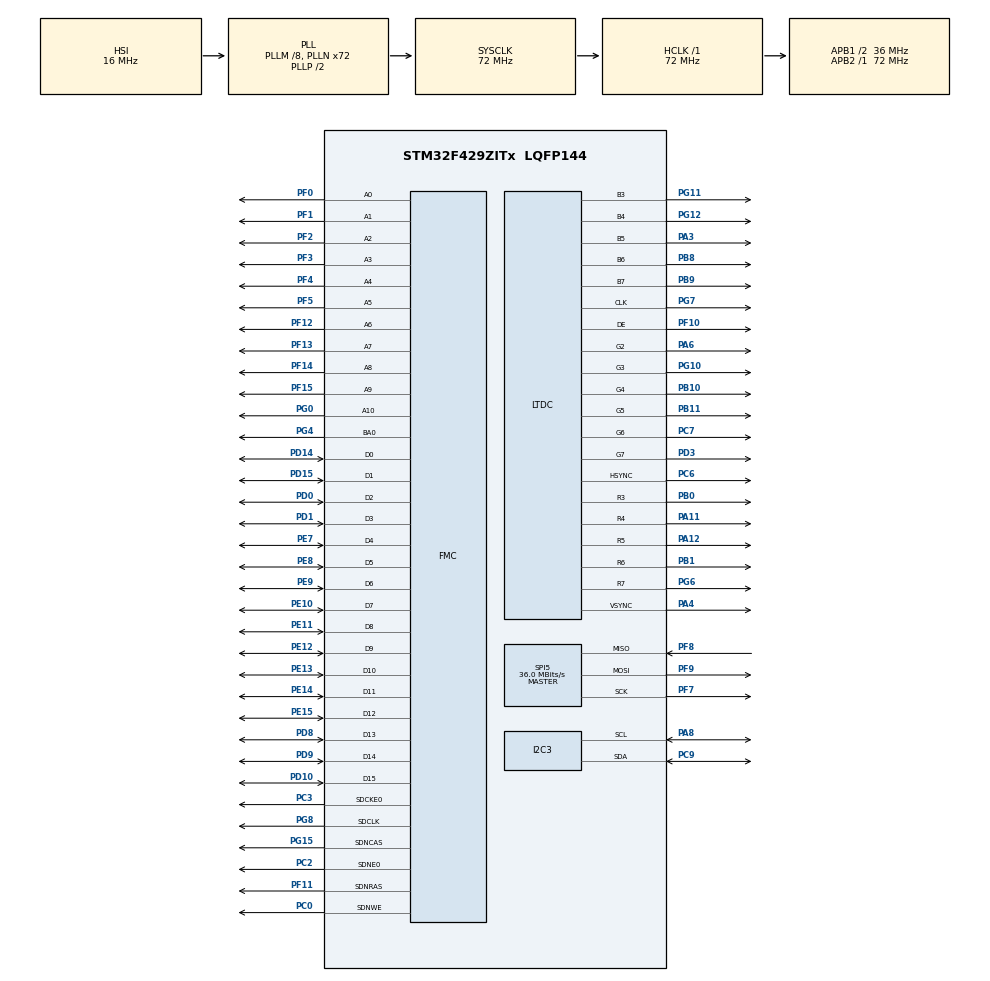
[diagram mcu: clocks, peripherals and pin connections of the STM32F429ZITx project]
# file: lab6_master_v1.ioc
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FMC.CASLatency1=FMC_SDRAM_CAS_LATENCY_3
FMC.ReadPipeDelay1=FMC_SDRAM_RPIPE_DELAY_1
FMC.ReadPipeDelay2=FMC_SDRAM_RPIPE_DELAY_1
FMC.SDClockPeriod1=FMC_SDRAM_CLOCK_PERIOD_2
FMC.SDClockPeriod2=FMC_SDRAM_CLOCK_PERIOD_2
Mcu.Family=STM32F4
Mcu.Name=STM32F429ZITx
Mcu.Package=LQFP144
NVIC.PriorityGroup=NVIC_PRIORITYGROUP_4
NVIC.SPI5_IRQn=true\:0\:0\:false\:false\:true\:true\:true\:true
PA11.Mode=RGB565
PA11.Signal=LTDC_R4
PA12.Mode=RGB565
PA12.Signal=LTDC_R5
PA3.Mode=RGB565
PA3.Signal=LTDC_B5
PA4.Mode=RGB565
PA4.Signal=LTDC_VSYNC
PA6.Mode=RGB565
PA6.Signal=LTDC_G2
PA8.Mode=I2C
PA8.Signal=I2C3_SCL
PB0.Mode=RGB565
PB0.Signal=LTDC_R3
PB1.Mode=RGB565
PB1.Signal=LTDC_R6
PB10.Mode=RGB565
PB10.Signal=LTDC_G4
PB11.Mode=RGB565
PB11.Signal=LTDC_G5
PB8.Mode=RGB565
PB8.Signal=LTDC_B6
PB9.Mode=RGB565
PB9.Signal=LTDC_B7
PC0.Signal=FMC_SDNWE
PC2.Mode=SdramChipSelect1_1
PC2.Signal=FMC_SDNE0
PC3.Mode=SdramChipSelect1_1
PC3.Signal=FMC_SDCKE0
PC6.Mode=RGB565
PC6.Signal=LTDC_HSYNC
PC7.Mode=RGB565
PC7.Signal=LTDC_G6
PC9.Mode=I2C
PC9.Signal=I2C3_SDA
PD0.Signal=FMC_D2_DA2
PD1.Signal=FMC_D3_DA3
PD10.Signal=FMC_D15_DA15
PD14.Signal=FMC_D0_DA0
PD15.Signal=FMC_D1_DA1
PD3.Mode=RGB565
PD3.Signal=LTDC_G7
PD8.Signal=FMC_D13_DA13
PD9.Signal=FMC_D14_DA14
PE10.Signal=FMC_D7_DA7
PE11.Signal=FMC_D8_DA8
PE12.Signal=FMC_D9_DA9
PE13.Signal=FMC_D10_DA10
PE14.Signal=FMC_D11_DA11
PE15.Signal=FMC_D12_DA12
PE7.Signal=FMC_D4_DA4
PE8.Signal=FMC_D5_DA5
PE9.Signal=FMC_D6_DA6
PF0.Signal=FMC_A0
PF1.Signal=FMC_A1
PF10.Mode=RGB565
PF10.Signal=LTDC_DE
PF11.Signal=FMC_SDNRAS
PF12.Signal=FMC_A6
PF13.Signal=FMC_A7
PF14.Signal=FMC_A8
PF15.Signal=FMC_A9
PF2.Signal=FMC_A2
PF3.Signal=FMC_A3
PF4.Signal=FMC_A4
PF5.Signal=FMC_A5
PF7.Mode=Full_Duplex_Master
PF7.Signal=SPI5_SCK
PF8.Mode=Full_Duplex_Master
PF8.Signal=SPI5_MISO
PF9.Mode=Full_Duplex_Master
PF9.Signal=SPI5_MOSI
PG0.Signal=FMC_A10
PG10.Mode=RGB565
PG10.Signal=LTDC_G3
PG11.Mode=RGB565
PG11.Signal=LTDC_B3
PG12.Mode=RGB565
PG12.Signal=LTDC_B4
PG15.Signal=FMC_SDNCAS
PG4.Signal=FMC_A14_BA0
PG6.Mode=RGB565
PG6.Signal=LTDC_R7
PG7.Mode=RGB565
PG7.Signal=LTDC_CLK
PG8.Signal=FMC_SDCLK
ProjectManager.HeapSize=0x200
ProjectManager.StackSize=0x400
ProjectManager.TargetToolchain=STM32CubeIDE
RCC.48MHZClocksFreq_Value=48000000
RCC.AHBFreq_Value=72000000
RCC.APB1CLKDivider=RCC_HCLK_DIV2
RCC.APB1Freq_Value=36000000
RCC.APB1TimFreq_Value=72000000
RCC.APB2Freq_Value=72000000
RCC.APB2TimFreq_Value=72000000
RCC.CortexFreq_Value=72000000
RCC.HCLKFreq_Value=72000000
RCC.HSE_VALUE=8000000
RCC.HSI_VALUE=16000000
RCC.LSE_VALUE=32768
RCC.PLLM=8
RCC.PLLN=72
RCC.PLLQ=3
RCC.PLLSAIDivR=RCC_PLLSAIDIVR_4
RCC.PLLSAIN=50
RCC.PLLSAIR=5
RCC.SYSCLKFreq_VALUE=72000000
RCC.SYSCLKSource=RCC_SYSCLKSOURCE_PLLCLK
RCC.VCOOutputFreq_Value=144000000
SH.FMC_A0.0=FMC_A0,11b-sda1
SH.FMC_A1.0=FMC_A1,11b-sda1
SH.FMC_A10.0=FMC_A10,11b-sda1
SH.FMC_A14_BA0.0=FMC_BA0,TwoSdramBanks1
SH.FMC_A2.0=FMC_A2,11b-sda1
SH.FMC_A3.0=FMC_A3,11b-sda1
SH.FMC_A4.0=FMC_A4,11b-sda1
SH.FMC_A5.0=FMC_A5,11b-sda1
SH.FMC_A6.0=FMC_A6,11b-sda1
SH.FMC_A7.0=FMC_A7,11b-sda1
SH.FMC_A8.0=FMC_A8,11b-sda1
SH.FMC_A9.0=FMC_A9,11b-sda1
SH.FMC_D0_DA0.0=FMC_D0,sd-16b-d1
SH.FMC_D10_DA10.0=FMC_D10,sd-16b-d1
SH.FMC_D11_DA11.0=FMC_D11,sd-16b-d1
SH.FMC_D12_DA12.0=FMC_D12,sd-16b-d1
SH.FMC_D13_DA13.0=FMC_D13,sd-16b-d1
SH.FMC_D14_DA14.0=FMC_D14,sd-16b-d1
SH.FMC_D15_DA15.0=FMC_D15,sd-16b-d1
SH.FMC_D1_DA1.0=FMC_D1,sd-16b-d1
SH.FMC_D2_DA2.0=FMC_D2,sd-16b-d1
SH.FMC_D3_DA3.0=FMC_D3,sd-16b-d1
SH.FMC_D4_DA4.0=FMC_D4,sd-16b-d1
SH.FMC_D5_DA5.0=FMC_D5,sd-16b-d1
SH.FMC_D6_DA6.0=FMC_D6,sd-16b-d1
SH.FMC_D7_DA7.0=FMC_D7,sd-16b-d1
SH.FMC_D8_DA8.0=FMC_D8,sd-16b-d1
SH.FMC_D9_DA9.0=FMC_D9,sd-16b-d1
SH.FMC_SDCLK.0=FMC_SDCLK,11b-sda1
SH.FMC_SDNCAS.0=FMC_SDNCAS,11b-sda1
SH.FMC_SDNRAS.0=FMC_SDNRAS,11b-sda1
SH.FMC_SDNWE.0=FMC_SDNWE,11b-sda1
SPI5.CalculateBaudRate=36.0 MBits/s
SPI5.Direction=SPI_DIRECTION_2LINES
SPI5.Mode=SPI_MODE_MASTER
SPI5.VirtualType=VM_MASTER
board=STM32F429I-DISC1

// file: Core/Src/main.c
/* USER CODE BEGIN Header */
/**
  ******************************************************************************
  * @file           : main.c
  * @brief          : Main program body
  ******************************************************************************
  * @attention
  *
  * Copyright (c) 2026 STMicroelectronics.
  * All rights reserved.
  *
  * This software is licensed under terms that can be found in the LICENSE file
  * in the root directory of this software component.
  * If no LICENSE file comes with this software, it is provided AS-IS.
  *
  ******************************************************************************
  */
/* USER CODE END Header */
#include "main.h"

/* USER CODE BEGIN Includes */
#include "stm32f429i_discovery_lcd.h"
#include <stdio.h>
/* USER CODE END Includes */

I2C_HandleTypeDef hi2c3;

LTDC_HandleTypeDef hltdc;

SPI_HandleTypeDef hspi5;

SDRAM_HandleTypeDef hsdram1;

/* USER CODE BEGIN PV */
uint8_t i2c_seq[] = {0x10, 0x20, 0x30, 0x40}; // Duomenų seka
uint8_t seq_idx = 0;                          // Sekos indeksas
uint32_t tx_counter = 0;                      // Perdavimų skaitiklis
char lcd_buf[30];
/* USER CODE END PV */

void SystemClock_Config(void);
static void MX_GPIO_Init(void);
static void MX_FMC_Init(void);
static void MX_I2C3_Init(void);
static void MX_LTDC_Init(void);
static void MX_SPI5_Init(void);

int main(void)
{

  /* MCU Configuration--------------------------------------------------------*/

  /* Reset of all peripherals, Initializes the Flash interface and the Systick. */
  HAL_Init();

  /* Configure the system clock */
  SystemClock_Config();

  /* Initialize all configured peripherals */
  MX_GPIO_Init();
  MX_FMC_Init();
  MX_I2C3_Init();
  MX_LTDC_Init();
  MX_SPI5_Init();
  /* USER CODE BEGIN 2 */
  BSP_LCD_Init();
  BSP_LCD_LayerDefaultInit(0, LCD_FRAME_BUFFER);
  BSP_LCD_SelectLayer(0);
  BSP_LCD_DisplayOn();
  BSP_LCD_Clear(LCD_COLOR_WHITE);
  BSP_LCD_SetTextColor(LCD_COLOR_BLUE);
  BSP_LCD_SetFont(&Font16);
  BSP_LCD_DisplayStringAtLine(2, (uint8_t*)"  I2C3 MASTER  ");
  /* USER CODE END 2 */

  /* Infinite loop */
  /* USER CODE BEGIN WHILE */
  while (1)
  {

	  if (HAL_I2C_Master_Transmit(&hi2c3, (0x3C << 1), &i2c_seq[seq_idx], 1, 100) == HAL_OK)
	      {
	          tx_counter++; // Didiname skaitiklį tik jei siuntimas sėkmingas
	      }

	      // 2. Išvedame informaciją į TFT ekraną
	      sprintf(lcd_buf, "Sent: 0x%02X", i2c_seq[seq_idx]);
	      BSP_LCD_DisplayStringAtLine(5, (uint8_t*)lcd_buf);

	      sprintf(lcd_buf, "Count: %lu", tx_counter);
	      BSP_LCD_DisplayStringAtLine(6, (uint8_t*)lcd_buf);

	      // 3. Cikliškai keičiame reikšmę iš sekos
	      seq_idx = (seq_idx + 1) % 4;

	      // 4. Pauzė (HAL_Delay)
	      HAL_Delay(1000);
    /* USER CODE END WHILE */

  }
}

void SystemClock_Config(void)
{
  RCC_OscInitTypeDef RCC_OscInitStruct = {0};
  RCC_ClkInitTypeDef RCC_ClkInitStruct = {0};

  /** Configure the main internal regulator output voltage
  */
  __HAL_RCC_PWR_CLK_ENABLE();
  __HAL_PWR_VOLTAGESCALING_CONFIG(PWR_REGULATOR_VOLTAGE_SCALE3);

  /** Initializes the RCC Oscillators according to the specified parameters
  * in the RCC_OscInitTypeDef structure.
  */
  RCC_OscInitStruct.OscillatorType = RCC_OSCILLATORTYPE_HSI;
  RCC_OscInitStruct.HSIState = RCC_HSI_ON;
  RCC_OscInitStruct.HSICalibrationValue = RCC_HSICALIBRATION_DEFAULT;
  RCC_OscInitStruct.PLL.PLLState = RCC_PLL_ON;
  RCC_OscInitStruct.PLL.PLLSource = RCC_PLLSOURCE_HSI;
  RCC_OscInitStruct.PLL.PLLM = 8;
  RCC_OscInitStruct.PLL.PLLN = 72;
  RCC_OscInitStruct.PLL.PLLP = RCC_PLLP_DIV2;
  RCC_OscInitStruct.PLL.PLLQ = 3;
  if (HAL_RCC_OscConfig(&RCC_OscInitStruct) != HAL_OK)
  {
    Error_Handler();
  }

  /** Initializes the CPU, AHB and APB buses clocks
  */
  RCC_ClkInitStruct.ClockType = RCC_CLOCKTYPE_HCLK|RCC_CLOCKTYPE_SYSCLK
                              |RCC_CLOCKTYPE_PCLK1|RCC_CLOCKTYPE_PCLK2;
  RCC_ClkInitStruct.SYSCLKSource = RCC_SYSCLKSOURCE_PLLCLK;
  RCC_ClkInitStruct.AHBCLKDivider = RCC_SYSCLK_DIV1;
  RCC_ClkInitStruct.APB1CLKDivider = RCC_HCLK_DIV2;
  RCC_ClkInitStruct.APB2CLKDivider = RCC_HCLK_DIV1;

  if (HAL_RCC_ClockConfig(&RCC_ClkInitStruct, FLASH_LATENCY_2) != HAL_OK)
  {
    Error_Handler();
  }
}

static void MX_I2C3_Init(void)
{

  hi2c3.Instance = I2C3;
  hi2c3.Init.ClockSpeed = 100000;
  hi2c3.Init.DutyCycle = I2C_DUTYCYCLE_2;
  hi2c3.Init.OwnAddress1 = 0;
  hi2c3.Init.AddressingMode = I2C_ADDRESSINGMODE_7BIT;
  hi2c3.Init.DualAddressMode = I2C_DUALADDRESS_DISABLE;
  hi2c3.Init.OwnAddress2 = 0;
  hi2c3.Init.GeneralCallMode = I2C_GENERALCALL_DISABLE;
  hi2c3.Init.NoStretchMode = I2C_NOSTRETCH_DISABLE;
  if (HAL_I2C_Init(&hi2c3) != HAL_OK)
  {
    Error_Handler();
  }

  /** Configure Analogue filter
  */
  if (HAL_I2CEx_ConfigAnalogFilter(&hi2c3, I2C_ANALOGFILTER_ENABLE) != HAL_OK)
  {
    Error_Handler();
  }

  /** Configure Digital filter
  */
  if (HAL_I2CEx_ConfigDigitalFilter(&hi2c3, 0) != HAL_OK)
  {
    Error_Handler();
  }

}

static void MX_LTDC_Init(void)
{

  LTDC_LayerCfgTypeDef pLayerCfg = {0};
  LTDC_LayerCfgTypeDef pLayerCfg1 = {0};

  hltdc.Instance = LTDC;
  hltdc.Init.HSPolarity = LTDC_HSPOLARITY_AL;
  hltdc.Init.VSPolarity = LTDC_VSPOLARITY_AL;
  hltdc.Init.DEPolarity = LTDC_DEPOLARITY_AL;
  hltdc.Init.PCPolarity = LTDC_PCPOLARITY_IPC;
  hltdc.Init.HorizontalSync = 7;
  hltdc.Init.VerticalSync = 3;
  hltdc.Init.AccumulatedHBP = 14;
  hltdc.Init.AccumulatedVBP = 5;
  hltdc.Init.AccumulatedActiveW = 654;
  hltdc.Init.AccumulatedActiveH = 485;
  hltdc.Init.TotalWidth = 660;
  hltdc.Init.TotalHeigh = 487;
  hltdc.Init.Backcolor.Blue = 0;
  hltdc.Init.Backcolor.Green = 0;
  hltdc.Init.Backcolor.Red = 0;
  if (HAL_LTDC_Init(&hltdc) != HAL_OK)
  {
    Error_Handler();
  }
  pLayerCfg.WindowX0 = 0;
  pLayerCfg.WindowX1 = 0;
  pLayerCfg.WindowY0 = 0;
  pLayerCfg.WindowY1 = 0;
  pLayerCfg.PixelFormat = LTDC_PIXEL_FORMAT_ARGB8888;
  pLayerCfg.Alpha = 0;
  pLayerCfg.Alpha0 = 0;
  pLayerCfg.BlendingFactor1 = LTDC_BLENDING_FACTOR1_CA;
  pLayerCfg.BlendingFactor2 = LTDC_BLENDING_FACTOR2_CA;
  pLayerCfg.FBStartAdress = 0;
  pLayerCfg.ImageWidth = 0;
  pLayerCfg.ImageHeight = 0;
  pLayerCfg.Backcolor.Blue = 0;
  pLayerCfg.Backcolor.Green = 0;
  pLayerCfg.Backcolor.Red = 0;
  if (HAL_LTDC_ConfigLayer(&hltdc, &pLayerCfg, 0) != HAL_OK)
  {
    Error_Handler();
  }
  pLayerCfg1.WindowX0 = 0;
  pLayerCfg1.WindowX1 = 0;
  pLayerCfg1.WindowY0 = 0;
  pLayerCfg1.WindowY1 = 0;
  pLayerCfg1.PixelFormat = LTDC_PIXEL_FORMAT_ARGB8888;
  pLayerCfg1.Alpha = 0;
  pLayerCfg1.Alpha0 = 0;
  pLayerCfg1.BlendingFactor1 = LTDC_BLENDING_FACTOR1_CA;
  pLayerCfg1.BlendingFactor2 = LTDC_BLENDING_FACTOR2_CA;
  pLayerCfg1.FBStartAdress = 0;
  pLayerCfg1.ImageWidth = 0;
  pLayerCfg1.ImageHeight = 0;
  pLayerCfg1.Backcolor.Blue = 0;
  pLayerCfg1.Backcolor.Green = 0;
  pLayerCfg1.Backcolor.Red = 0;
  if (HAL_LTDC_ConfigLayer(&hltdc, &pLayerCfg1, 1) != HAL_OK)
  {
    Error_Handler();
  }

}

static void MX_SPI5_Init(void)
{

  /* SPI5 parameter configuration*/
  hspi5.Instance = SPI5;
  hspi5.Init.Mode = SPI_MODE_MASTER;
  hspi5.Init.Direction = SPI_DIRECTION_2LINES;
  hspi5.Init.DataSize = SPI_DATASIZE_8BIT;
  hspi5.Init.CLKPolarity = SPI_POLARITY_LOW;
  hspi5.Init.CLKPhase = SPI_PHASE_1EDGE;
  hspi5.Init.NSS = SPI_NSS_SOFT;
  hspi5.Init.BaudRatePrescaler = SPI_BAUDRATEPRESCALER_2;
  hspi5.Init.FirstBit = SPI_FIRSTBIT_MSB;
  hspi5.Init.TIMode = SPI_TIMODE_DISABLE;
  hspi5.Init.CRCCalculation = SPI_CRCCALCULATION_DISABLE;
  hspi5.Init.CRCPolynomial = 10;
  if (HAL_SPI_Init(&hspi5) != HAL_OK)
  {
    Error_Handler();
  }

}

/* FMC initialization function */
static void MX_FMC_Init(void)
{

  FMC_SDRAM_TimingTypeDef SdramTiming = {0};

  /** Perform the SDRAM1 memory initialization sequence
  */
  hsdram1.Instance = FMC_SDRAM_DEVICE;
  /* hsdram1.Init */
  hsdram1.Init.SDBank = FMC_SDRAM_BANK1;
  hsdram1.Init.ColumnBitsNumber = FMC_SDRAM_COLUMN_BITS_NUM_8;
  hsdram1.Init.RowBitsNumber = FMC_SDRAM_ROW_BITS_NUM_11;
  hsdram1.Init.MemoryDataWidth = FMC_SDRAM_MEM_BUS_WIDTH_16;
  hsdram1.Init.InternalBankNumber = FMC_SDRAM_INTERN_BANKS_NUM_2;
  hsdram1.Init.CASLatency = FMC_SDRAM_CAS_LATENCY_3;
  hsdram1.Init.WriteProtection = FMC_SDRAM_WRITE_PROTECTION_DISABLE;
  hsdram1.Init.SDClockPeriod = FMC_SDRAM_CLOCK_PERIOD_2;
  hsdram1.Init.ReadBurst = FMC_SDRAM_RBURST_DISABLE;
  hsdram1.Init.ReadPipeDelay = FMC_SDRAM_RPIPE_DELAY_1;
  /* SdramTiming */
  SdramTiming.LoadToActiveDelay = 16;
  SdramTiming.ExitSelfRefreshDelay = 16;
  SdramTiming.SelfRefreshTime = 16;
  SdramTiming.RowCycleDelay = 16;
  SdramTiming.WriteRecoveryTime = 16;
  SdramTiming.RPDelay = 16;
  SdramTiming.RCDDelay = 16;

  if (HAL_SDRAM_Init(&hsdram1, &SdramTiming) != HAL_OK)
  {
    Error_Handler( );
  }

}

static void MX_GPIO_Init(void)
{

  /* GPIO Ports Clock Enable */
  __HAL_RCC_GPIOF_CLK_ENABLE();
  __HAL_RCC_GPIOC_CLK_ENABLE();
  __HAL_RCC_GPIOA_CLK_ENABLE();
  __HAL_RCC_GPIOB_CLK_ENABLE();
  __HAL_RCC_GPIOG_CLK_ENABLE();
  __HAL_RCC_GPIOE_CLK_ENABLE();
  __HAL_RCC_GPIOD_CLK_ENABLE();

}

void Error_Handler(void)
{
  __disable_irq();
  while (1)
  {
  }
}
